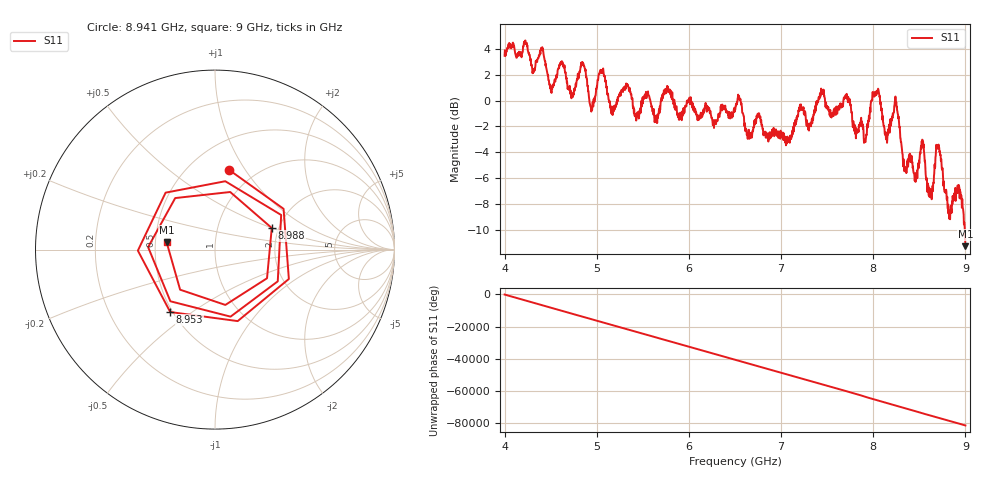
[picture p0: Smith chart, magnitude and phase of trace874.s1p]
! Created with skrf 1.8.0 (http://scikit-rf.org).
# Hz S RI R 50.0
!freq ReS11 ImS11
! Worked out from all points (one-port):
!   1601 points, 4 GHz to 9 GHz, reference 50 ohm
!   lowest |S11| = -11.3 dB at 9 GHz (marker M1), VSWR 1.75, Z = 28.7 + j2.65 ohm
!   |S11| at or under -10 dB: 8.993543 GHz to end of sweep
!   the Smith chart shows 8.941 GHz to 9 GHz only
!   S11 on the Smith chart (normalised r, x): 8.941 GHz: 0.76, +0.85; 8.953 GHz: 0.49, -0.41; 8.988 GHz: 1.84, +0.50; 9 GHz: 0.57, +0.05
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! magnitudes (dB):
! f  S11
! 4 GHz  3.5
! 4.406 GHz  4.0
! 4.509 GHz  0.6
! 4.625 GHz  3.0
! 4.734 GHz  0.4
! 4.856 GHz  2.9
! 4.944 GHz  -0.5
! 5.047 GHz  2.2
! 5.169 GHz  -0.9
! 5.25 GHz  0.4
! 5.875 GHz  -1.0
! 6.5 GHz  -0.7
! 7.125 GHz  -2.6
! 7.444 GHz  0.7
! 7.75 GHz  -0.3
! 7.912 GHz  -3.2
! 8.016 GHz  0.6
! 8.144 GHz  -3.0
! 8.25 GHz  -0.1
! 8.375 GHz  -4.5
! 8.531 GHz  -3.0
! 8.625 GHz  -7.2
! 8.706 GHz  -3.5
! 8.825 GHz  -9.1
! 8.941 GHz  -6.9
! 8.953 GHz  -7.4
! 8.988 GHz  -9.4
! 9 GHz  -11.3
